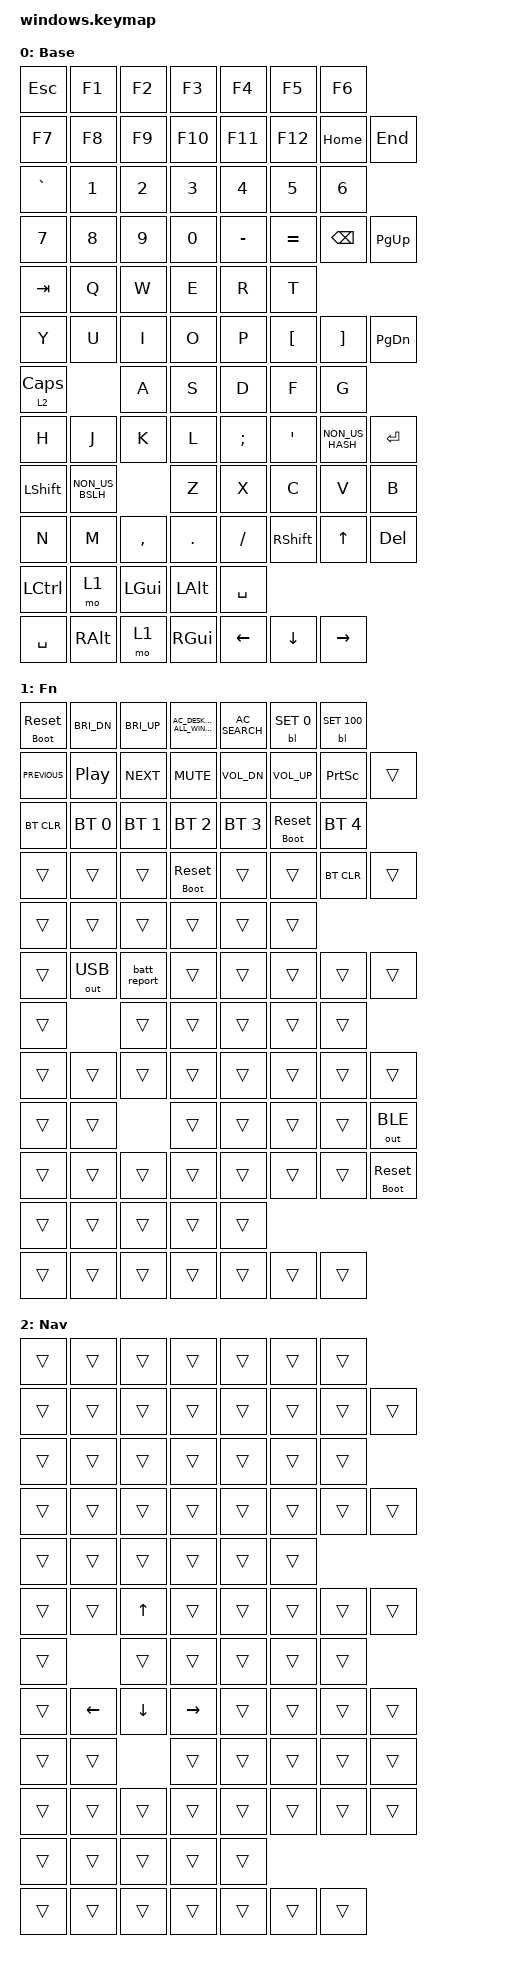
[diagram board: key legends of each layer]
/*
 * Copyright (c) 2026 The NocFree ZMK Contributors
 *
 * SPDX-License-Identifier: MIT
 */

#include <behaviors.dtsi>
#include <dt-bindings/zmk/backlight.h>
#include <dt-bindings/zmk/bt.h>
#include <dt-bindings/zmk/keys.h>
#include <dt-bindings/zmk/outputs.h>

/*
 * Windows layout, Nordic ISO, Control and Fn keycaps swapped. The macOS
 * layout is config/mac.keymap. The two differ on purpose in four places:
 * the bottom row, the two ISO keys macOS crosses (uncrossed here), the
 * F-row (F1-F12 unmodified here, shortcuts behind Fn), and Fn+` as a
 * left-half clear-profile. Never copy one file over the other; a change
 * that belongs on both is made in both, by hand.
 */

/*
 * ISO map, factory arrangement, retuned for Windows + a Nordic layout,
 * plus a Caps-Lock navigation layer.
 *
 * This is a user-config keymap: it replaces the board keymap at
 * boards/nocfree/nocfree_and/nocfree_and.keymap wholesale, so the behaviour
 * nodes that file declares are redeclared here.
 *
 * Positional, not national. HID usage codes say which key moved; the host
 * layout decides the character. This is the standard positional map plus the
 * two codes ANSI has no room for, so it serves Nordic, German, French,
 * Spanish and every other ISO layout equally. Set the layout in the OS.
 *
 *   NON_US_BSLH  the key between LSHFT and Z      Nordic: < > backslash
 *   NON_US_HASH  the key left of the ISO Enter    Nordic: apostrophe, star
 *
 * Bindings are listed in visual reading order. Each line pair is one physical
 * row: the left half first, then the right half. Row widths are
 * 7+8, 7+8, 6+8, 6+8, 7+8, 5+7 = 85.
 *
 * Layers: 0 base, 1 Fn, 2 Nav (held with Caps Lock).
 *
 * The base layer and function row follow the arrangement NocFree publishes
 * for this keyboard: plain F1-F12 on the base layer, the Mac-legend shortcuts
 * on Fn. The bottom row deviates: see below.
 *
 * Two bindings sit in slots the factory arrangement leaves empty, because
 * this firmware drives hardware the factory map does not address:
 *
 *   Fn+F5 / Fn+F6   backlight off / on. Absolute BL_SET levels only. ZMK
 *                   relays the backlight behaviour to the peripheral but
 *                   never syncs the resulting state, and each half keeps its
 *                   own brightness in its own NVS, so one BL_INC lost to a
 *                   split-link hiccup would leave a permanent offset that
 *                   survives reboots. BL_SET lands both halves on one number.
 *   Fn+i            types the battery level as "bat NN". That number is a
 *                   stub and reads 100 permanently; see docs/battery.md.
 *
 * The top row's last three keys read Home, End, Delete, matching the legends
 * on this unit. Upstream's manufacturer-documented table put Print Screen and
 * Home there, but that table was derived from the ANSI board and does not
 * describe this one -- the owner read the keys off the physical keyboard.
 * Print Screen keeps a home on Fn+Home.
 *
 * The bottom row: two deliberate departures from the factory order, which is
 * Fn / Control / Option / Command outside in, matching the Mac legends on the
 * retail keycaps. On Windows those legends read differently -- Option is Alt
 * and Command is the Windows key -- so the factory order puts Alt and Win the
 * wrong way round against every other PC keyboard, and it puts AltGr three
 * keys right of the space bar, behind Command and Fn.
 *
 * That second one is the expensive one on a Nordic layout, where @ $ { [ ] }
 * and the backslash and pipe all need AltGr. So:
 *
 *   left    Control / Fn / Win / Alt outside in. Control is outermost
 *           because the Control and Fn keycaps on this unit have been
 *           swapped physically; the firmware follows the caps. Win and Alt
 *           stay in PC order.
 *   right   AltGr immediately right of the space bar, then Fn, then Win.
 *
 * Everything else is the factory arrangement. To go back to the factory
 * bottom row, swap LGUI with LALT on the left, RALT with RGUI on the right,
 * and put Fn back outermost on the left.
 *
 * Recovery keys. Both halves can be dropped into their preserved UF2
 * bootloader from the keymap, and both the factory combinations and the
 * port's own are bound, so either muscle memory works:
 *
 *   Fn+5  or  Fn+Esc      left half     (factory firmware uses Fn+5)
 *   Fn+0  or  Fn+Delete   right half    (factory firmware uses Fn+0)
 *
 * This works because ZMK reset behaviours act on the half whose key triggered
 * them, and 5 and Esc are both left-half keys while 0 and Delete are both
 * right-half ones -- the same split the factory combinations rely on. Tap
 * resets that half; hold 1.5 s reaches the bootloader. Binding Fn+5 and Fn+0
 * displaced two Bluetooth controls, which moved one key outward:
 * profile 5 is now Fn+6, and clear-profile is now Fn+Backspace. Clear-profile
 * is also on Fn+` (½ on Nordic legends), a left-half key, so it works without the right half.
 */

/ {
    behaviors {
        /*
         * Types the battery percentage out as "bat NN". A macro cannot do
         * this: macros send a sequence fixed at compile time and the
         * percentage is a runtime value. Output is digits, letters and space
         * only, which sit in the same places on every ISO layout.
         */
        batt_report: battery_report {
            compatible = "nocfree,behavior-battery-report";
            #binding-cells = <0>;
            display-name = "Battery";
        };

        /*
         * A hold-tap always passes two parameters to its bound behaviours.
         * &bootloader and &sys_reset take none, so every use passes two
         * zeroes.
         *
         * tap-preferred: a quick tap is a reset even if the key is still held
         * when the next one arrives. Only a deliberate 1.5 s hold reaches the
         * bootloader.
         */
        boot_reset: bootloader_or_reset {
            compatible = "zmk,behavior-hold-tap";
            #binding-cells = <2>;
            bindings = <&bootloader>, <&sys_reset>;
            tapping-term-ms = <1500>;
            flavor = "tap-preferred";
        };

        /*
         * Caps Lock, held, is the navigation layer; tapped, it is still Caps
         * Lock.
         *
         * hold-preferred rather than ZMK's stock &lt, which is tap-preferred:
         * tap-preferred resolves only on the timer, so every arrow would cost
         * a 200 ms wait before it registered. hold-preferred resolves as soon
         * as another key goes down, so Caps+J is an immediate Left. The
         * trade-off is that pressing another key while Caps is still held
         * always means the layer -- which is what you want here, because Caps
         * Lock is a key you tap on its own and essentially never chord.
         */
        caps_nav: caps_lock_or_nav {
            compatible = "zmk,behavior-hold-tap";
            #binding-cells = <2>;
            bindings = <&mo>, <&kp>;
            tapping-term-ms = <200>;
            flavor = "hold-preferred";
            display-name = "Caps/Nav";
        };
    };

    keymap {
        compatible = "zmk,keymap";

        default_layer {
            display-name = "Base";
            bindings = <
                &kp ESC   &kp F1    &kp F2    &kp F3    &kp F4    &kp F5    &kp F6
                &kp F7    &kp F8    &kp F9    &kp F10   &kp F11   &kp F12   &kp HOME  &kp END

                &kp GRAVE &kp N1    &kp N2    &kp N3    &kp N4    &kp N5    &kp N6
                &kp N7    &kp N8    &kp N9    &kp N0    &kp MINUS &kp EQUAL &kp BSPC  &kp PG_UP

                &kp TAB   &kp Q     &kp W     &kp E     &kp R     &kp T
                &kp Y     &kp U     &kp I     &kp O     &kp P     &kp LBKT  &kp RBKT  &kp PG_DN

                &caps_nav 2 CAPS    &kp A     &kp S     &kp D     &kp F     &kp G
                &kp H     &kp J     &kp K     &kp L     &kp SEMI  &kp SQT   &kp NON_US_HASH &kp RET

                &kp LSHFT &kp NON_US_BSLH &kp Z &kp X   &kp C     &kp V     &kp B
                &kp N     &kp M     &kp COMMA &kp DOT   &kp FSLH  &kp RSHFT &kp UP    &kp DEL

                &kp LCTRL &mo 1     &kp LGUI  &kp LALT  &kp SPACE
                &kp SPACE &kp RALT  &mo 1     &kp RGUI  &kp LEFT  &kp DOWN  &kp RIGHT
            >;
        };

        /*
         * Function layer. The function row follows the contract NocFree
         * publishes for the Mac legends on the retail keycaps.
         *
         *   Fn+Esc        tap: reset the left half   hold 1.5 s: its bootloader
         *   Fn+5          the same, matching factory firmware's combination
         *   Fn+F1 / F2    display brightness down / up
         *   Fn+F3         show all windows        Fn+F4  search
         *   Fn+F5 / F6    backlight off / on      (this firmware, not factory)
         *   Fn+F7..F12    prev, play/pause, next, mute, volume down, volume up
         *   Fn+Home       Print Screen
         *   Fn+1..Fn+4    select Bluetooth profile 0..3
         *   Fn+6          select Bluetooth profile 4
         *   Fn+`          clear the selected Bluetooth profile (Fn+½ on Nordic)
         *   Fn+Backspace  the same
         *
         * Fn+` is the one that always works. Backspace is a right-half key,
         * so Fn+Backspace only reaches the central while the split link is
         * up -- and a bond that has gone stale is exactly when you need it.
         * Grave sits on the left half, next to the profile keys.
         *
         *   Fn+U         send HID over USB       Fn+B  send HID over Bluetooth
         *   Fn+i          type the battery level as "bat NN"
         *   Fn+Delete     tap: reset the right half  hold 1.5 s: its bootloader
         *   Fn+0          the same, matching factory firmware's combination
         *
         * Fn+Delete and Fn+0 need the split link up to reach the right half,
         * and that half needs its own USB cable for its bootloader drive to
         * appear. Either half can always be recovered over its USB CDC
         * interface instead; see docs/recovery.md.
         */
        function_layer {
            display-name = "Fn";
            bindings = <
                &boot_reset 0 0 &kp C_BRI_DN &kp C_BRI_UP &kp C_AC_DESKTOP_SHOW_ALL_WINDOWS &kp C_AC_SEARCH &bl BL_SET 0 &bl BL_SET 100
                &kp C_PREVIOUS &kp C_PLAY_PAUSE &kp C_NEXT &kp C_MUTE &kp C_VOL_DN &kp C_VOL_UP &kp PSCRN  &trans

                &bt BT_CLR &bt BT_SEL 0 &bt BT_SEL 1 &bt BT_SEL 2 &bt BT_SEL 3 &boot_reset 0 0 &bt BT_SEL 4
                &trans     &trans     &trans  &boot_reset 0 0 &trans     &trans     &bt BT_CLR &trans

                &trans     &trans     &trans     &trans     &trans     &trans
                &trans     &out OUT_USB &batt_report &trans   &trans     &trans     &trans     &trans

                &trans     &trans     &trans     &trans     &trans     &trans
                &trans     &trans     &trans     &trans     &trans     &trans     &trans     &trans

                &trans     &trans     &trans     &trans     &trans     &trans     &out OUT_BLE
                &trans     &trans     &trans     &trans     &trans     &trans     &trans  &boot_reset 0 0

                &trans     &trans     &trans     &trans     &trans
                &trans     &trans     &trans     &trans     &trans     &trans     &trans
            >;
        };

        /*
         * Navigation layer, held with Caps Lock.
         *
         *   Caps+I     up          Caps+J  left
         *   Caps+K     down        Caps+L  right
         *
         * I sits directly above K, with J and L either side, so the four form
         * the usual inverted T under the right hand.
         *
         * Everything else is transparent and falls through to the base layer,
         * so Caps+anything-else types what it normally would. The physical
         * arrow cluster is untouched and still works.
         */
        nav_layer {
            display-name = "Nav";
            bindings = <
                &trans     &trans     &trans     &trans     &trans     &trans     &trans
                &trans     &trans     &trans     &trans     &trans     &trans     &trans     &trans

                &trans     &trans     &trans     &trans     &trans     &trans     &trans
                &trans     &trans     &trans     &trans     &trans     &trans     &trans     &trans

                &trans     &trans     &trans     &trans     &trans     &trans
                &trans     &trans     &kp UP     &trans     &trans     &trans     &trans     &trans

                &trans     &trans     &trans     &trans     &trans     &trans
                &trans     &kp LEFT   &kp DOWN   &kp RIGHT  &trans     &trans     &trans     &trans

                &trans     &trans     &trans     &trans     &trans     &trans     &trans
                &trans     &trans     &trans     &trans     &trans     &trans     &trans     &trans

                &trans     &trans     &trans     &trans     &trans
                &trans     &trans     &trans     &trans     &trans     &trans     &trans
            >;
        };
    };
};
